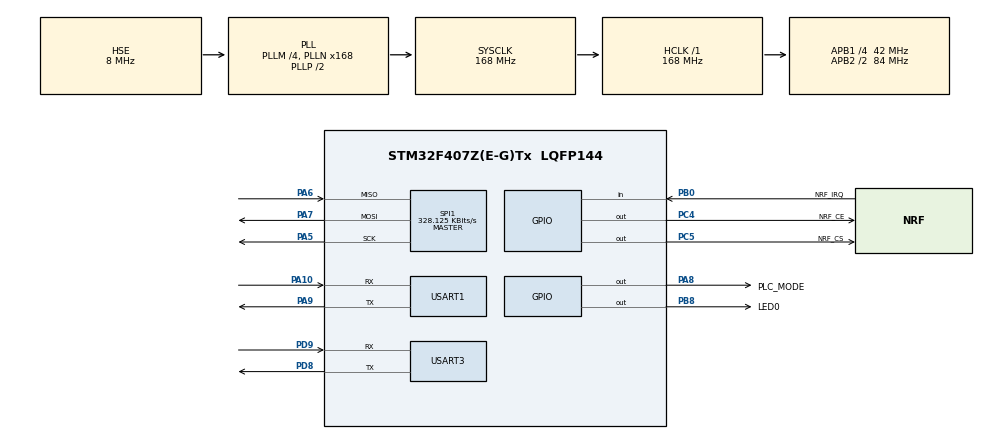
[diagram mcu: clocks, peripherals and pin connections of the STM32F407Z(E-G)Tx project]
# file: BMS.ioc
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Mcu.Family=STM32F4
Mcu.Name=STM32F407Z(E-G)Tx
Mcu.Package=LQFP144
NVIC.PriorityGroup=NVIC_PRIORITYGROUP_2
NVIC.USART1_IRQn=true\:2\:1\:true\:false\:true\:true\:true\:true
NVIC.USART3_IRQn=true\:2\:2\:true\:false\:true\:true\:true\:true
PA10.Mode=Asynchronous
PA10.Signal=USART1_RX
PA13.Mode=Serial_Wire
PA13.Signal=SYS_JTMS-SWDIO
PA14.Mode=Serial_Wire
PA14.Signal=SYS_JTCK-SWCLK
PA5.Mode=Full_Duplex_Master
PA5.Signal=SPI1_SCK
PA6.Mode=Full_Duplex_Master
PA6.Signal=SPI1_MISO
PA7.Mode=Full_Duplex_Master
PA7.Signal=SPI1_MOSI
PA8.GPIO_Label=PLC_MODE
PA8.GPIO_PuPd=GPIO_PULLUP
PA8.PinState=GPIO_PIN_SET
PA8.Signal=GPIO_Output
PA9.Mode=Asynchronous
PA9.Signal=USART1_TX
PB0.GPIO_Label=NRF_IRQ
PB0.GPIO_PuPd=GPIO_PULLUP
PB0.Signal=GPIO_Input
PB8.GPIO_Label=LED0
PB8.GPIO_PuPd=GPIO_PULLUP
PB8.PinState=GPIO_PIN_SET
PB8.Signal=GPIO_Output
PC4.GPIO_Label=NRF_CE
PC4.GPIO_ModeDefaultOutputPP=GPIO_MODE_OUTPUT_PP
PC4.GPIO_PuPd=GPIO_PULLUP
PC4.GPIO_Speed=GPIO_SPEED_FREQ_LOW
PC4.PinState=GPIO_PIN_SET
PC4.Signal=GPIO_Output
PC5.GPIO_Label=NRF_CS
PC5.GPIO_PuPd=GPIO_PULLUP
PC5.GPIO_Speed=GPIO_SPEED_FREQ_HIGH
PC5.PinState=GPIO_PIN_SET
PC5.Signal=GPIO_Output
PD8.Mode=Asynchronous
PD8.Signal=USART3_TX
PD9.Mode=Asynchronous
PD9.Signal=USART3_RX
PH0-OSC_IN.Mode=HSE-External-Oscillator
PH0-OSC_IN.Signal=RCC_OSC_IN
PH1-OSC_OUT.Mode=HSE-External-Oscillator
PH1-OSC_OUT.Signal=RCC_OSC_OUT
ProjectManager.HeapSize=0x200
ProjectManager.StackSize=0x400
ProjectManager.TargetToolchain=STM32CubeIDE
RCC.48MHZClocksFreq_Value=84000000
RCC.AHBFreq_Value=168000000
RCC.APB1CLKDivider=RCC_HCLK_DIV4
RCC.APB1Freq_Value=42000000
RCC.APB1TimFreq_Value=84000000
RCC.APB2CLKDivider=RCC_HCLK_DIV2
RCC.APB2Freq_Value=84000000
RCC.APB2TimFreq_Value=168000000
RCC.CortexFreq_Value=168000000
RCC.HCLKFreq_Value=168000000
RCC.HSE_VALUE=8000000
RCC.HSI_VALUE=16000000
RCC.LSE_VALUE=32768
RCC.PLLM=4
RCC.PLLN=168
RCC.PLLSourceVirtual=RCC_PLLSOURCE_HSE
RCC.SYSCLKFreq_VALUE=168000000
RCC.SYSCLKSource=RCC_SYSCLKSOURCE_PLLCLK
RCC.VCOOutputFreq_Value=336000000
SPI1.BaudRatePrescaler=SPI_BAUDRATEPRESCALER_256
SPI1.CLKPhase=SPI_PHASE_2EDGE
SPI1.CLKPolarity=SPI_POLARITY_HIGH
SPI1.CalculateBaudRate=328.125 KBits/s
SPI1.Direction=SPI_DIRECTION_2LINES
SPI1.Mode=SPI_MODE_MASTER
SPI1.VirtualType=VM_MASTER
USART1.VirtualMode=VM_ASYNC
USART3.VirtualMode=VM_ASYNC
board=custom

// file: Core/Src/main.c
/* USER CODE BEGIN Header */
/**
  ******************************************************************************
  * @file           : main.c
  * @brief          : Main program body
  ******************************************************************************
  * @attention
  *
  * Copyright (c) 2024 STMicroelectronics.
  * All rights reserved.
  *
  * This software is licensed under terms that can be found in the LICENSE file
  * in the root directory of this software component.
  * If no LICENSE file comes with this software, it is provided AS-IS.
  *
  ******************************************************************************
  */
/* USER CODE END Header */
#include "main.h"
#include "spi.h"
#include "usart.h"
#include "gpio.h"

/* USER CODE BEGIN PV */
uint8_t len;
uint32_t times;
/* USER CODE END PV */

void SystemClock_Config(void);

int main(void)
{

  /* MCU Configuration--------------------------------------------------------*/

  /* Reset of all peripherals, Initializes the Flash interface and the Systick. */
  HAL_Init();

  /* Configure the system clock */
  SystemClock_Config();

  /* Initialize all configured peripherals */
  MX_GPIO_Init();
  MX_USART1_UART_Init();
  MX_USART3_UART_Init();
  MX_SPI1_Init();
  /* USER CODE BEGIN 2 */
  uint8_t test[4] = {10, 109, 97, 10};
  HAL_GPIO_WritePin(PLC_MODE_GPIO_Port, PLC_MODE_Pin, GPIO_PIN_RESET);

  /* USER CODE END 2 */

  /* Infinite loop */
  while (1)
  {

    /* USER CODE BEGIN 3 */
    USART_RX_TX(1);
    // USART_RX_TX(3);
    // delay_us(1);
    times++;
    if ((times % 500000) == 0) {
      HAL_GPIO_TogglePin(LED0_GPIO_Port, LED0_Pin);
    }
    if ((times % 1000000) == 0) {
//      printf("\r\n running \r\n");
    }
  }
  /* USER CODE END 3 */
}

void SystemClock_Config(void)
{
  RCC_OscInitTypeDef RCC_OscInitStruct = {0};
  RCC_ClkInitTypeDef RCC_ClkInitStruct = {0};

  /** Configure the main internal regulator output voltage
  */
  __HAL_RCC_PWR_CLK_ENABLE();
  __HAL_PWR_VOLTAGESCALING_CONFIG(PWR_REGULATOR_VOLTAGE_SCALE1);

  /** Initializes the RCC Oscillators according to the specified parameters
  * in the RCC_OscInitTypeDef structure.
  */
  RCC_OscInitStruct.OscillatorType = RCC_OSCILLATORTYPE_HSE;
  RCC_OscInitStruct.HSEState = RCC_HSE_ON;
  RCC_OscInitStruct.PLL.PLLState = RCC_PLL_ON;
  RCC_OscInitStruct.PLL.PLLSource = RCC_PLLSOURCE_HSE;
  RCC_OscInitStruct.PLL.PLLM = 4;
  RCC_OscInitStruct.PLL.PLLN = 168;
  RCC_OscInitStruct.PLL.PLLP = RCC_PLLP_DIV2;
  RCC_OscInitStruct.PLL.PLLQ = 4;
  if (HAL_RCC_OscConfig(&RCC_OscInitStruct) != HAL_OK)
  {
    Error_Handler();
  }

  /** Initializes the CPU, AHB and APB buses clocks
  */
  RCC_ClkInitStruct.ClockType = RCC_CLOCKTYPE_HCLK|RCC_CLOCKTYPE_SYSCLK
                              |RCC_CLOCKTYPE_PCLK1|RCC_CLOCKTYPE_PCLK2;
  RCC_ClkInitStruct.SYSCLKSource = RCC_SYSCLKSOURCE_PLLCLK;
  RCC_ClkInitStruct.AHBCLKDivider = RCC_SYSCLK_DIV1;
  RCC_ClkInitStruct.APB1CLKDivider = RCC_HCLK_DIV4;
  RCC_ClkInitStruct.APB2CLKDivider = RCC_HCLK_DIV2;

  if (HAL_RCC_ClockConfig(&RCC_ClkInitStruct, FLASH_LATENCY_5) != HAL_OK)
  {
    Error_Handler();
  }
}

/* USER CODE BEGIN 4 */
void delay_us(uint32_t nus) {
  uint32_t ticks;
  uint32_t told, tnow, tcnt = 0;
  uint32_t reload = SysTick->LOAD;        /* LOAD的�?? */
  ticks = nus * MAIN_FREQ;                 /* �??要的节拍�?? */
  told = SysTick->VAL;                    /* 刚进入时的计数器�?? */
  while (1) {
    tnow = SysTick->VAL;
    if (tnow != told) {
      if (tnow < told) {
        tcnt += told - tnow;        /* 这里注意�??下SYSTICK是一个�?�减的计数器就可以了 */
      }
      else {
        tcnt += reload - tnow + told;
      }
      told = tnow;
      if (tcnt >= ticks) {
        break;                      /* 时间超过/等于要延迟的时间,则�??�?? */
      }
    }
  }
}

/* USER CODE END 4 */

void Error_Handler(void)
{
  __disable_irq();
  while (1)
  {
  }
}
